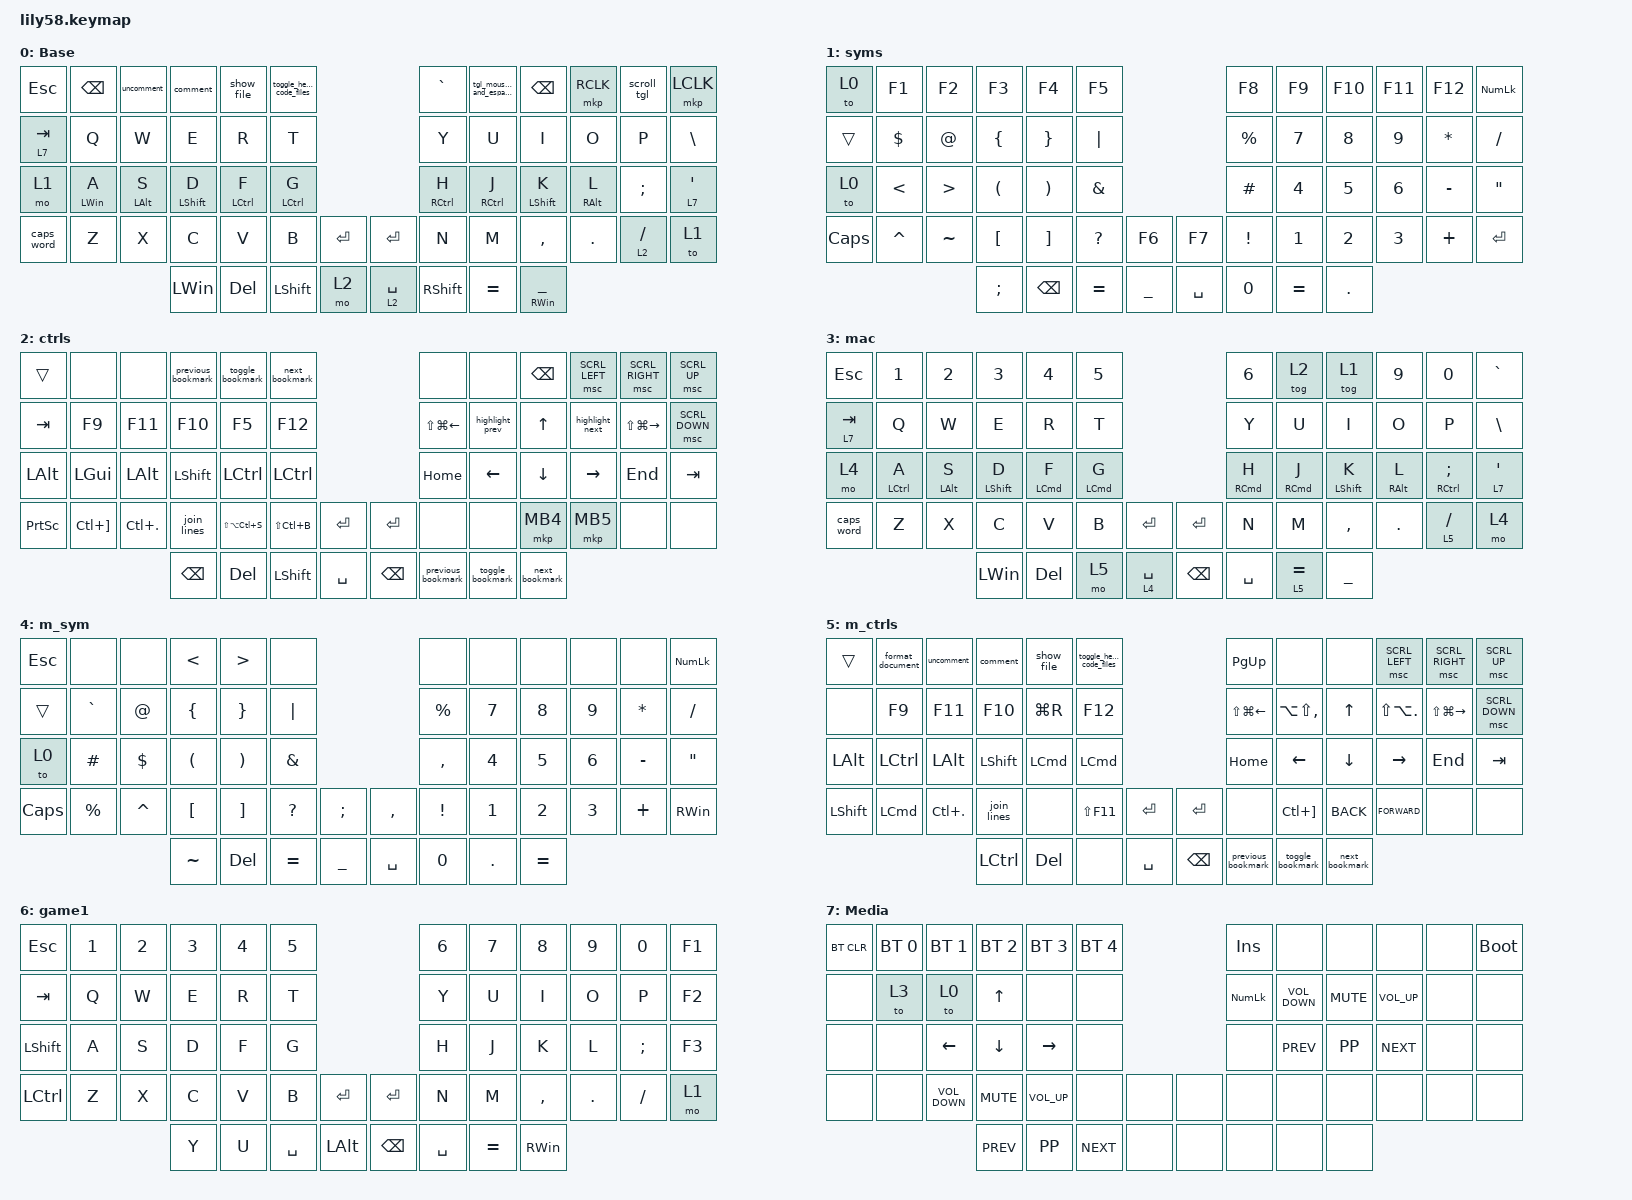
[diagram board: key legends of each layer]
/*
 * Copyright (c) 2020 The ZMK Contributors
 *
 * SPDX-License-Identifier: MIT
 */

#include <behaviors.dtsi>
#include <dt-bindings/zmk/bt.h>
#include <dt-bindings/zmk/keys.h>
#include <dt-bindings/zmk/pointing.h>

#define ZMK_POINTING_DEFAULT_SCRL_VAL 10    // default: 10

&msc {
    time-to-max-speed-ms = <10>;
    acceleration-exponent = <5>;
};

/ {
    combos {
        compatible = "zmk,combos";

        PowerToys_mouse_jump {
            bindings = <&kp LG(LS(J))>;
            key-positions = <40 39>;
        };

        stop_build {
            bindings = <&kp LS(LA(LC(S)))>;
            key-positions = <41 40>;
        };

        attachProc {
            bindings = <&kp LA(LC(P))>;
            key-positions = <5 0>;
        };

        reattachProc {
            bindings = <&kp LS(LA(P))>;
            key-positions = <4 0>;
        };

        ToBase {
            bindings = <&to 0>;
            key-positions = <29 0>;
        };
    };

    macros {
        start_hex: start_hex {
            compatible = "zmk,behavior-macro";
            #binding-cells = <0>;
            bindings = <&kp N0 &kp X>;
            label = "START_HEX";
        };

        green_shot: green_shot {
            compatible = "zmk,behavior-macro";
            #binding-cells = <0>;
            bindings = <&kp PRINTSCREEN>;
            label = "GREEN_SHOT";
        };

        format_document: format_document {
            compatible = "zmk,behavior-macro";
            #binding-cells = <0>;
            bindings = <&kp LC(K) &kp LC(D)>;
            label = "FORMAT_DOCUMENT";
        };

        uncomment: uncomment {
            compatible = "zmk,behavior-macro";
            #binding-cells = <0>;
            bindings = <&kp LC(K) &kp LC(U)>;
            label = "UNCOMMENT";
        };

        comment: comment {
            compatible = "zmk,behavior-macro";
            #binding-cells = <0>;
            bindings = <&kp LC(K) &kp LC(C)>;
            label = "COMMENT";
        };

        show_file: show_file {
            compatible = "zmk,behavior-macro";
            #binding-cells = <0>;
            bindings = <&kp LC(LEFT_BRACKET) &kp S>;
            label = "SHOW_FILE";
        };

        toggle_header_code_files: toggle_header_code_files {
            compatible = "zmk,behavior-macro";
            #binding-cells = <0>;
            bindings = <&kp LC(K) &kp LC(O)>;
            label = "TOGGLE_HEADER_CODE_FILES";
        };

        show_call_tree: show_call_tree {
            compatible = "zmk,behavior-macro";
            #binding-cells = <0>;
            bindings = <&kp LC(K) &kp LC(T)>;
            label = "SHOW_CALL_TREE";
        };

        toggle_bookmark: toggle_bookmark {
            compatible = "zmk,behavior-macro";
            #binding-cells = <0>;
            bindings = <&kp LC(K) &kp LC(K)>;
            label = "TOGGLE_BOOKMARK";
        };

        previous_bookmark: previous_bookmark {
            compatible = "zmk,behavior-macro";
            #binding-cells = <0>;
            bindings = <&kp LC(K) &kp LC(P)>;
            label = "PREVIOUS_BOOKMARK";
        };

        next_bookmark: next_bookmark {
            compatible = "zmk,behavior-macro";
            #binding-cells = <0>;
            bindings = <&kp LC(K) &kp LC(N)>;
            label = "NEXT_BOOKMARK";
        };

        join_lines: join_lines {
            compatible = "zmk,behavior-macro";
            #binding-cells = <0>;
            bindings = <&kp LC(M) &kp LC(J)>;
            label = "JOIN_LINES";
        };

        pointer: pointer {
            compatible = "zmk,behavior-macro";
            #binding-cells = <0>;
            bindings = <&kp MINUS &kp GT>;
            label = "POINTER";
        };

        GTE: GTE {
            compatible = "zmk,behavior-macro";
            #binding-cells = <0>;
            bindings = <&kp GT &kp EQUAL>;
            label = "GTE";
        };

        LTE: LTE {
            compatible = "zmk,behavior-macro";
            #binding-cells = <0>;
            bindings = <&kp LT &kp EQUAL>;
            label = "LTE";
        };

        NE: NE {
            compatible = "zmk,behavior-macro";
            #binding-cells = <0>;
            bindings = <&kp EXCL &kp EQUAL>;
            label = "NE";
        };

        Assign: Assign {
            compatible = "zmk,behavior-macro";
            #binding-cells = <0>;
            bindings = <&kp SPACE &kp EQUAL &kp SPACE &kp SEMI &kp LEFT_ARROW>;
            label = "ASSIGN";
        };

        scroll_tgl: scroll_tgl {
            compatible = "zmk,behavior-macro";
            #binding-cells = <0>;
            bindings = <&kp KP_NUMLOCK &kp KP_NUMLOCK>;
            label = "SCROLL_TGL";
        };

        tgl_mouseless_and_espanso: tgl_mouseless_and_espanso {
            compatible = "zmk,behavior-macro";
            #binding-cells = <0>;
            bindings = <&kp LEFT_ALT &kp LEFT_ALT &kp LA(LEFT_WIN)>;
            label = "TGL_MOUSELESS_AND_ESPANSO";
        };

        highlight_next: highlight_next {
            compatible = "zmk,behavior-macro";
            #binding-cells = <0>;
            bindings = <&kt LEFT_ALT &kt LEFT_SHIFT &kp PERIOD &kt LEFT_SHIFT &kt LEFT_ALT>;
            label = "HIGHLIGHT_NEXT";
        };

        highlight_prev: highlight_prev {
            compatible = "zmk,behavior-macro";
            #binding-cells = <0>;
            bindings = <&kt LEFT_ALT &kt LEFT_SHIFT &kp COMMA &kt LEFT_SHIFT &kt LEFT_ALT>;
            label = "HIGHLIGHT_PREV";
        };
    };

    behaviors {
        hold_tap_200: hold_tap_200 {
            compatible = "zmk,behavior-hold-tap";
            label = "HOLD_TAP_200";
            bindings = <&kp>, <&kp>;

            #binding-cells = <2>;
            flavor = "balanced";
            quick-tap-ms = <100>;
            tapping-term-ms = <200>;
            require-prior-idle-ms = <50>;
        };

        layer_tap_200: layer_tap_200 {
            compatible = "zmk,behavior-hold-tap";
            label = "LAYER_TAP_200";
            bindings = <&mo>, <&kp>;

            #binding-cells = <2>;
            tapping-term-ms = <200>;
            quick-tap-ms = <200>;
            require-prior-idle-ms = <125>;
            flavor = "balanced";
        };

        layer_caps: layer_caps {
            compatible = "zmk,behavior-hold-tap";
            label = "LAYER_CAPS";
            bindings = <&mo>, <&caps_word>;

            #binding-cells = <2>;
            tapping-term-ms = <200>;
            flavor = "tap-unless-interrupted";
            quick-tap-ms = <200>;
            require-prior-idle-ms = <125>;
        };
    };

    keymap {
        compatible = "zmk,keymap";

        default_layer {
            // ------------------------------------------------------------------------------------------------------------
            // |  ESC  |  1  |  2  |  3   |  4   |  5   |                   |  6   |  7    |  8    |  9   |   0   |   `   |
            // |  TAB  |  Q  |  W  |  E   |  R   |  T   |                   |  Y   |  U    |  I    |  O   |   P   |   -   |
            // |  CTRL |  A  |  S  |  D   |  F   |  G   |                   |  H   |  J    |  K    |  L   |   ;   |   '   |
            // | SHIFT |  Z  |  X  |  C   |  V   |  B   |   "["  |  |  "]"  |  N   |  M    |  ,    |  .   |   /   | SHIFT |
            //                     | ALT  | GUI  | LOWER|  SPACE |  | ENTER | RAISE| BSPC  | GUI   |

            display-name = "Base";
            bindings = <
&kp ESC     &kp BACKSPACE             &uncomment                &comment                    &show_file             &toggle_header_code_files                                       &kp GRAVE              &tgl_mouseless_and_espanso  &kp BACKSPACE                  &mkp RCLK                  &scroll_tgl             &mkp LCLK
&lt 7 TAB   &kp Q                     &kp W                     &kp E                       &kp R                  &kp T                                                           &kp Y                  &kp U                       &kp I                          &kp O                      &kp P                   &kp BACKSLASH
&mo 1       &hold_tap_200 LEFT_WIN A  &hold_tap_200 LEFT_ALT S  &hold_tap_200 LEFT_SHIFT D  &hold_tap_200 LCTRL F  &hold_tap_200 LCTRL G                                           &hold_tap_200 RCTRL H  &hold_tap_200 RCTRL J       &hold_tap_200 LEFT_SHIFT K     &hold_tap_200 RIGHT_ALT L  &kp SEMICOLON           &layer_tap_200 7 SQT
&caps_word  &kp Z                     &kp X                     &kp C                       &kp V                  &kp B                      &kp ENTER    &kp RET                 &kp N                  &kp M                       &kp COMMA                      &kp DOT                    &layer_tap_200 2 SLASH  &to 1
                                                                &kp LEFT_WIN                &kp DELETE             &kp LEFT_SHIFT             &mo 2        &layer_tap_200 2 SPACE  &kp RIGHT_SHIFT        &kp EQUAL                   &hold_tap_200 RIGHT_WIN UNDER
            >;
        };

        symbols {
            // ------------------------------------------------------------------------------------------------------------
            // | BTCLR | BT1 | BT2 |  BT3 |  BT4 |  BT5 |                   |      |       |       |      |       |       |
            // |  F1   |  F2 |  F3 |  F4  |  F5  |  F6  |                   |  F7  |  F8   |  F9   |  F10 |  F11  |  F12  |
            // |   `   |  !  |  @  |  #   |  $   |  %   |                   |  ^   |  &    |  *    |  (   |   )   |   ~   |
            // |       |     |     |      |      |      |        |  |       |      |  _    |  +    |  {   |   }   |  "|"  |
            //                     |      |      |      |        |  |       |      |       |       |

            display-name = "syms";
            bindings = <
&to 0         &kp F1         &kp F2            &kp F3                &kp F4                 &kp F5                                 &kp F8           &kp F9     &kp F10     &kp F11  &kp F12       &kp KP_NUMLOCK
&trans        &kp DOLLAR     &kp AT_SIGN       &kp LEFT_BRACE        &kp RIGHT_BRACE        &kp PIPE                               &kp PERCENT      &kp N7     &kp N8      &kp N9   &kp ASTERISK  &kp SLASH
&to 0         &kp LESS_THAN  &kp GREATER_THAN  &kp LEFT_PARENTHESIS  &kp RIGHT_PARENTHESIS  &kp AMPERSAND                          &kp HASH         &kp N4     &kp N5      &kp N6   &kp MINUS     &kp DOUBLE_QUOTES
&kp CAPSLOCK  &kp CARET      &kp TILDE         &kp LEFT_BRACKET      &kp RIGHT_BRACKET      &kp QUESTION   &kp F6       &kp F7     &kp EXCLAMATION  &kp N1     &kp N2      &kp N3   &kp PLUS      &kp RETURN
                                               &kp SEMICOLON         &kp BACKSPACE          &kp EQUAL      &kp UNDER    &kp SPACE  &kp N0           &kp EQUAL  &kp PERIOD
            >;
        };

        Controls {
            // ------------------------------------------------------------------------------------------------------------
            // |       |     |     |      |      |      |                   |      |       |       |      |       |       |
            // |   `   |  1  |  2  |  3   |  4   |  5   |                   |  6   |   7   |   8   |  9   |   0   |       |
            // |   F1  |  F2 |  F3 |  F4  |  F5  |  F6  |                   |      |   <-  |   v   |  ^   |  ->   |       |
            // |   F7  |  F8 |  F9 |  F10 |  F11 |  F12 |        |  |       |  +   |   -   |   =   |  [   |   ]   |   \   |
            //                     |      |      |      |        |  |       |      |       |       |

            display-name = "ctrls";
            bindings = <
&trans           &none                  &none           &previous_bookmark  &toggle_bookmark   &next_bookmark                              &none               &none             &kp BACKSPACE   &msc SCRL_LEFT   &msc SCRL_RIGHT    &msc SCRL_UP
&kp TAB          &kp F9                 &kp F11         &kp F10             &kp F5             &kp F12                                     &kp LS(LG(LEFT))    &highlight_prev   &kp UP          &highlight_next  &kp LS(LG(RIGHT))  &msc SCRL_DOWN
&kp LALT         &kp LGUI               &kp LALT        &kp LSHFT           &kp LCTRL          &kp LCTRL                                   &kp HOME            &kp LEFT          &kp DOWN        &kp RIGHT        &kp END            &kp TAB
&kp PRINTSCREEN  &kp LC(RIGHT_BRACKET)  &kp LC(PERIOD)  &join_lines         &kp LS(LA(LC(S)))  &kp LS(LC(B))   &kp ENTER    &kp ENTER      &none               &none             &mkp MB4        &mkp MB5         &none              &none
                                                        &kp BACKSPACE       &kp DEL            &kp LEFT_SHIFT  &kp SPACE    &kp BACKSPACE  &previous_bookmark  &toggle_bookmark  &next_bookmark
            >;
        };

        mac {
            display-name = "mac";
            bindings = <
&kp ESC     &kp N1                        &kp N2                    &kp N3                      &kp N4                        &kp N5                                                                 &kp N6                         &tog 2                         &tog 1                      &kp N9                     &kp N0                                 &kp GRAVE
&lt 7 TAB   &kp Q                         &kp W                     &kp E                       &kp R                         &kp T                                                                  &kp Y                          &kp U                          &kp I                       &kp O                      &kp P                                  &kp BACKSLASH
&mo 4       &hold_tap_200 LEFT_CONTROL A  &hold_tap_200 LEFT_ALT S  &hold_tap_200 LEFT_SHIFT D  &hold_tap_200 LEFT_COMMAND F  &hold_tap_200 LEFT_COMMAND G                                           &hold_tap_200 RIGHT_COMMAND H  &hold_tap_200 RIGHT_COMMAND J  &hold_tap_200 LEFT_SHIFT K  &hold_tap_200 RIGHT_ALT L  &hold_tap_200 RIGHT_CONTROL SEMICOLON  &layer_tap_200 7 SQT
&caps_word  &kp Z                         &kp X                     &kp C                       &kp V                         &kp B                         &kp ENTER                 &kp RET        &kp N                          &kp M                          &kp COMMA                   &kp DOT                    &layer_tap_200 5 SLASH                 &mo 4
                                                                    &kp LEFT_WIN                &kp DELETE                    &mo 5                         &layer_tap_200 4 SPACE    &kp BACKSPACE  &kp SPACE                      &layer_tap_200 5 EQUAL         &kp UNDERSCORE
            >;
        };

        mac_syms {
            display-name = "m_sym";
            bindings = <
&kp ESCAPE    &none        &none        &kp LESS_THAN         &kp GREATER_THAN       &none                                      &none            &none       &none      &none   &none         &kp KP_NUMLOCK
&trans        &kp GRAVE    &kp AT_SIGN  &kp LEFT_BRACE        &kp RIGHT_BRACE        &kp PIPE                                   &kp PERCENT      &kp N7      &kp N8     &kp N9  &kp ASTERISK  &kp SLASH
&to 0         &kp HASH     &kp DOLLAR   &kp LEFT_PARENTHESIS  &kp RIGHT_PARENTHESIS  &kp AMPERSAND                              &kp COMMA        &kp N4      &kp N5     &kp N6  &kp MINUS     &kp DOUBLE_QUOTES
&kp CAPSLOCK  &kp PERCENT  &kp CARET    &kp LEFT_BRACKET      &kp RBKT               &kp QUESTION   &kp SEMICOLON    &kp COMMA  &kp EXCLAMATION  &kp N1      &kp N2     &kp N3  &kp PLUS      &kp RIGHT_WIN
                                        &kp TILDE             &kp DELETE             &kp EQUAL      &kp UNDER        &kp SPACE  &kp N0           &kp PERIOD  &kp EQUAL
            >;
        };

        mac_ctrls {
            display-name = "m_ctrls";
            bindings = <
&trans          &format_document  &uncomment      &comment          &show_file        &toggle_header_code_files                              &kp PAGE_UP         &none                  &none           &msc SCRL_LEFT      &msc SCRL_RIGHT    &msc SCRL_UP
&none           &kp F9            &kp F11         &kp F10           &kp LG(R)         &kp F12                                                &kp LS(LG(LEFT))    &kp LA(LS(COMMA))      &kp UP          &kp LS(LA(PERIOD))  &kp LS(LG(RIGHT))  &msc SCRL_DOWN
&kp LALT        &kp LEFT_CONTROL  &kp LALT        &kp LSHFT         &kp LEFT_COMMAND  &kp LEFT_COMMAND                                       &kp HOME            &kp LEFT               &kp DOWN        &kp RIGHT           &kp END            &kp TAB
&kp LEFT_SHIFT  &kp LEFT_COMMAND  &kp LC(PERIOD)  &join_lines       &none             &kp LS(F11)                &kp ENTER    &kp ENTER      &none               &kp LC(RIGHT_BRACKET)  &kp K_BACK      &kp K_FORWARD       &none              &none
                                                  &kp LEFT_CONTROL  &kp DEL           &none                      &kp SPACE    &kp BACKSPACE  &previous_bookmark  &toggle_bookmark       &next_bookmark
            >;
        };

        game1 {
            bindings = <
&kp ESC    &kp N1  &kp N2  &kp N3  &kp N4  &kp N5                                    &kp N6     &kp N7     &kp N8         &kp N9   &kp N0    &kp F1
&kp TAB    &kp Q   &kp W   &kp E   &kp R   &kp T                                     &kp Y      &kp U      &kp I          &kp O    &kp P     &kp F2
&kp LSHFT  &kp A   &kp S   &kp D   &kp F   &kp G                                     &kp H      &kp J      &kp K          &kp L    &kp SEMI  &kp F3
&kp LCTRL  &kp Z   &kp X   &kp C   &kp V   &kp B      &kp RET         &kp RET        &kp N      &kp M      &kp COMMA      &kp DOT  &kp FSLH  &mo 1
                           &kp Y   &kp U   &kp SPACE  &kp LEFT_ALT    &kp BACKSPACE  &kp SPACE  &kp EQUAL  &kp RIGHT_WIN
            >;

            label = "game1";
        };

        Media {
            display-name = "Media";
            bindings = <
&bt BT_CLR  &bt BT_SEL 0  &bt BT_SEL 1       &bt BT_SEL 2  &bt BT_SEL 3  &bt BT_SEL 4                  &kp INSERT      &none              &none       &none         &none  &bootloader
&none       &to 3         &to 0              &kp UP        &none         &none                         &kp KP_NUMLOCK  &kp K_VOLUME_DOWN  &kp K_MUTE  &kp K_VOL_UP  &none  &none
&none       &none         &kp LEFT           &kp DOWN      &kp RIGHT     &none                         &none           &kp K_PREV         &kp K_PP    &kp K_NEXT    &none  &none
&none       &none         &kp K_VOLUME_DOWN  &kp K_MUTE    &kp K_VOL_UP  &none         &none    &none  &none           &none              &none       &none         &none  &none
                                             &kp K_PREV    &kp K_PP      &kp K_NEXT    &none    &none  &none           &none              &none
            >;
        };
    };
};
